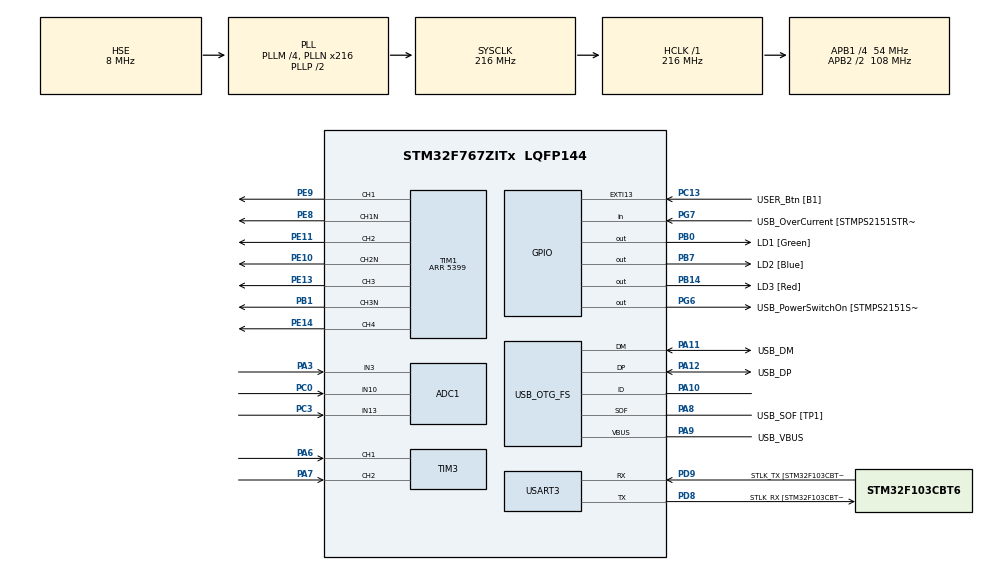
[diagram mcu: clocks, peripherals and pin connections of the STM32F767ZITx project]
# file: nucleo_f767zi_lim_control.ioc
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ADC1.Channel-0\#ChannelRegularConversion=ADC_CHANNEL_3
ADC1.Channel-1\#ChannelRegularConversion=ADC_CHANNEL_10
ADC1.Channel-2\#ChannelRegularConversion=ADC_CHANNEL_13
ADC1.ContinuousConvMode=ENABLE
ADC1.DMAContinuousRequests=ENABLE
ADC1.EOCSelection=ADC_EOC_SEQ_CONV
ADC1.NbrOfConversion=3
ADC1.NbrOfConversionFlag=1
ADC1.Rank-0\#ChannelRegularConversion=1
ADC1.Rank-1\#ChannelRegularConversion=2
ADC1.Rank-2\#ChannelRegularConversion=3
ADC1.SamplingTime-0\#ChannelRegularConversion=ADC_SAMPLETIME_3CYCLES
ADC1.SamplingTime-1\#ChannelRegularConversion=ADC_SAMPLETIME_3CYCLES
ADC1.SamplingTime-2\#ChannelRegularConversion=ADC_SAMPLETIME_3CYCLES
ADC1.ScanConvMode=ADC_SCAN_ENABLE
ADC1.master=1
Dma.ADC1.0.Direction=DMA_PERIPH_TO_MEMORY
Dma.ADC1.0.FIFOMode=DMA_FIFOMODE_DISABLE
Dma.ADC1.0.Instance=DMA2_Stream0
Dma.ADC1.0.MemDataAlignment=DMA_MDATAALIGN_WORD
Dma.ADC1.0.MemInc=DMA_MINC_ENABLE
Dma.ADC1.0.Mode=DMA_CIRCULAR
Dma.ADC1.0.PeriphDataAlignment=DMA_PDATAALIGN_WORD
Dma.ADC1.0.PeriphInc=DMA_PINC_DISABLE
Dma.ADC1.0.Priority=DMA_PRIORITY_LOW
Dma.Request0=ADC1
Mcu.Family=STM32F7
Mcu.Name=STM32F767ZITx
Mcu.Package=LQFP144
NVIC.PriorityGroup=NVIC_PRIORITYGROUP_4
PA10.Mode=OTG/Dual_Role_Device
PA10.Signal=USB_OTG_FS_ID
PA11.GPIO_Label=USB_DM
PA11.Mode=OTG/Dual_Role_Device
PA11.Signal=USB_OTG_FS_DM
PA12.GPIO_Label=USB_DP
PA12.Mode=OTG/Dual_Role_Device
PA12.Signal=USB_OTG_FS_DP
PA13.GPIO_Label=TMS
PA13.Mode=Serial_Wire
PA13.Signal=SYS_JTMS-SWDIO
PA14.GPIO_Label=TCK
PA14.Mode=Serial_Wire
PA14.Signal=SYS_JTCK-SWCLK
PA3.Signal=ADCx_IN3
PA6.Signal=S_TIM3_CH1
PA7.Signal=S_TIM3_CH2
PA8.GPIO_Label=USB_SOF [TP1]
PA8.Mode=Activate_SOF_FS
PA8.Signal=USB_OTG_FS_SOF
PA9.GPIO_Label=USB_VBUS
PA9.Mode=Activate_VBUS
PA9.Signal=USB_OTG_FS_VBUS
PB0.GPIO_Label=LD1 [Green]
PB0.Signal=GPIO_Output
PB1.Mode=PWM Generation3 CH3 CH3N
PB1.Signal=TIM1_CH3N
PB14.GPIO_Label=LD3 [Red]
PB14.Signal=GPIO_Output
PB3.GPIO_Label=SWO
PB3.Signal=SYS_JTDO-SWO
PB7.GPIO_Label=LD2 [Blue]
PB7.Signal=GPIO_Output
PC0.Signal=ADCx_IN10
PC13.GPIO_Label=USER_Btn [B1]
PC13.Signal=GPXTI13
PC14/OSC32_IN.Mode=LSE-External-Oscillator
PC14/OSC32_IN.Signal=RCC_OSC32_IN
PC15/OSC32_OUT.Mode=LSE-External-Oscillator
PC15/OSC32_OUT.Signal=RCC_OSC32_OUT
PC3.Signal=ADCx_IN13
PD8.GPIO_Label=STLK_RX [STM32F103CBT6_PA3]
PD8.Mode=Asynchronous
PD8.Signal=USART3_TX
PD9.GPIO_Label=STLK_TX [STM32F103CBT6_PA2]
PD9.Mode=Asynchronous
PD9.Signal=USART3_RX
PE10.Mode=PWM Generation2 CH2 CH2N
PE10.Signal=TIM1_CH2N
PE11.Signal=S_TIM1_CH2
PE13.Signal=S_TIM1_CH3
PE14.Signal=S_TIM1_CH4
PE8.Mode=PWM Generation1 CH1 CH1N
PE8.Signal=TIM1_CH1N
PE9.Signal=S_TIM1_CH1
PG6.GPIO_Label=USB_PowerSwitchOn [STMPS2151STR_EN]
PG6.Signal=GPIO_Output
PG7.GPIO_Label=USB_OverCurrent [STMPS2151STR_FAULT]
PG7.Signal=GPIO_Input
PH0/OSC_IN.GPIO_Label=MCO [STM32F103CBT6_PA8]
PH0/OSC_IN.Mode=HSE-External-Clock-Source
PH0/OSC_IN.Signal=RCC_OSC_IN
PH1/OSC_OUT.Mode=HSE-External-Clock-Source
PH1/OSC_OUT.Signal=RCC_OSC_OUT
ProjectManager.HeapSize=0x200
ProjectManager.StackSize=0x400
ProjectManager.TargetToolchain=STM32CubeIDE
RCC.48MHZClocksFreq_Value=24000000
RCC.AHBFreq_Value=216000000
RCC.APB1CLKDivider=RCC_HCLK_DIV4
RCC.APB1Freq_Value=54000000
RCC.APB1TimFreq_Value=108000000
RCC.APB2CLKDivider=RCC_HCLK_DIV2
RCC.APB2Freq_Value=108000000
RCC.APB2TimFreq_Value=216000000
RCC.CortexFreq_Value=216000000
RCC.HCLKFreq_Value=216000000
RCC.HSE_VALUE=8000000
RCC.HSI_VALUE=16000000
RCC.PLLM=4
RCC.PLLMUL=RCC_PLL_MUL9
RCC.PLLN=216
RCC.PLLQ=9
RCC.PRESCALERUSB=RCC_USBCLKSOURCE_PLL_DIV1_5
RCC.SYSCLKFreq_VALUE=216000000
RCC.SYSCLKSource=RCC_SYSCLKSOURCE_PLLCLK
RCC.SYSCLKSourceVirtual=RCC_SYSCLKSOURCE_PLLCLK
RCC.USBFreq_Value=48000000
RCC.VCOOutputFreq_Value=432000000
SH.ADCx_IN10.0=ADC1_IN10,IN10
SH.ADCx_IN13.0=ADC1_IN13,IN13
SH.ADCx_IN3.0=ADC1_IN3,IN3
SH.S_TIM1_CH1.0=TIM1_CH1,PWM Generation1 CH1 CH1N
SH.S_TIM1_CH2.0=TIM1_CH2,PWM Generation2 CH2 CH2N
SH.S_TIM1_CH3.0=TIM1_CH3,PWM Generation3 CH3 CH3N
SH.S_TIM1_CH4.0=TIM1_CH4,PWM Generation4 CH4
SH.S_TIM3_CH1.0=TIM3_CH1,Encoder_Interface
SH.S_TIM3_CH2.0=TIM3_CH2,Encoder_Interface
TIM1.AutoReloadPreload=TIM_AUTORELOAD_PRELOAD_ENABLE
TIM1.Channel-PWM\ Generation1\ CH1\ CH1N=TIM_CHANNEL_1
TIM1.Channel-PWM\ Generation2\ CH2\ CH2N=TIM_CHANNEL_2
TIM1.Channel-PWM\ Generation3\ CH3\ CH3N=TIM_CHANNEL_3
TIM1.Channel-PWM\ Generation4\ CH4=TIM_CHANNEL_4
TIM1.CounterMode=TIM_COUNTERMODE_CENTERALIGNED3
TIM1.Period=5399
TIM5.Prescaler=215
USART3.VirtualMode-Asynchronous=VM_ASYNC
VP_TIM1_VS_ClockSourceINT.Mode=Internal
VP_TIM5_VS_ClockSourceINT.Mode=Internal
board=NUCLEO-F767ZI

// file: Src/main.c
/* USER CODE BEGIN Header */
/**
 ******************************************************************************
 * @file           : main.c
 * @brief          : Main program body
 ******************************************************************************
 * @attention
 *
 * Copyright (c) 2025 STMicroelectronics.
 * All rights reserved.
 *
 * This software is licensed under terms that can be found in the LICENSE file
 * in the root directory of this software component.
 * If no LICENSE file comes with this software, it is provided AS-IS.
 *
 ******************************************************************************
 */
/* USER CODE END Header */
#include "main.h"

ADC_HandleTypeDef hadc1;
DMA_HandleTypeDef hdma_adc1;

TIM_HandleTypeDef htim1;
TIM_HandleTypeDef htim3;
TIM_HandleTypeDef htim5;

UART_HandleTypeDef huart3;

/* USER CODE BEGIN PV */
uint32_t AD_RES_BUFFER[3];	// circular buffer, 3 in-use ADC channels
float gain1 = 5400.0 / 4095;
float gain2 = 5400.0 / 4095;
float gain3 = 5400.0 / 4095;
/* USER CODE END PV */

void SystemClock_Config(void);
static void MX_GPIO_Init(void);
static void MX_DMA_Init(void);
static void MX_ADC1_Init(void);
static void MX_USART3_UART_Init(void);
static void MX_USB_OTG_FS_USB_Init(void);
static void MX_TIM1_Init(void);
static void MX_TIM5_Init(void);
static void MX_TIM3_Init(void);
/* USER CODE BEGIN PFP */

float compute_speed(int dif_pulses, int ticks_216mhz);

/* USER CODE END PFP */

int main(void)
{

  /* MCU Configuration--------------------------------------------------------*/

  /* Reset of all peripherals, Initializes the Flash interface and the Systick. */
  HAL_Init();

  /* Configure the system clock */
  SystemClock_Config();

  /* Initialize all configured peripherals */
  MX_GPIO_Init();
  MX_DMA_Init();
  MX_ADC1_Init();
  MX_USART3_UART_Init();
  MX_USB_OTG_FS_USB_Init();
  MX_TIM1_Init();
  MX_TIM5_Init();
  MX_TIM3_Init();
  /* USER CODE BEGIN 2 */

	HAL_TIM_PWM_Start(&htim1, TIM_CHANNEL_1);
	HAL_TIMEx_PWMN_Start(&htim1, TIM_CHANNEL_1);
	HAL_TIM_PWM_Start(&htim1, TIM_CHANNEL_2);
	HAL_TIMEx_PWMN_Start(&htim1, TIM_CHANNEL_2);
	HAL_TIM_PWM_Start(&htim1, TIM_CHANNEL_3);
	HAL_TIMEx_PWMN_Start(&htim1, TIM_CHANNEL_3);
	HAL_ADC_Start_DMA(&hadc1, AD_RES_BUFFER, 3);
	HAL_TIM_Encoder_Start(&htim2, TIM_CHANNEL_ALL);

  /* USER CODE END 2 */

  /* Infinite loop */
  /* USER CODE BEGIN WHILE */
	uint32_t count = 0;
	float KP = 2.0;
	float KI = 2.1;
	float i_set_scale = 1.0 / 4095;
	uint32_t prev_time = TIM5->CNT;
	uint32_t prev_pulses = TIM2->CNT;

	while (1)
	{
		/*
		 * Current Control loop:
		 * 1. Take ADC current sensor reading, compute currents
		 * [later: call FOC algorithm]
		 * 3. Identify desired currents
		 * 4. Identify effective voltage for PI control
		 * 5. Send outputs to gate driver
		 */

		uint32_t v1 = AD_RES_BUFFER[0];
//		uint32_t v2 = AD_RES_BUFFER[1];
		uint32_t v3 = AD_RES_BUFFER[2];	// Use as setpoint
		float i1 = gain1 * v1;
		float i_set = i_set_scale * v3;
		float i1_err = i1 - i1_set;
//		float i2 = gain2 * v2;
//		float i3 = gain3 * v3;

		// For
		float V_out = KP * i1_err;

		TIM1->CCR1 = (uint16_t) i1;
//		TIM1->CCR2 = (uint16_t) i2;
//		TIM1->CCR3 = (uint16_t) i3;
		//	  TIM1->CCR1 = 5000;
		//	  TIM1->CCR2 = 3000;
		//	  TIM1->CCR3 = 1000;

		// Encoder pulses, frequency method
		uint32_t encoder_pulses = TIM8->CNT;

		// Write to channel 0, see in J-Link RTT Viewer or telnet client
		if (count % 5 == 0) {
			// SEGGER_RTT_WriteString(0, "Hello world!\r\n");
			SEGGER_RTT_printf(0, "%u half-seconds, %u \r\n", count/5, encoder_pulses);
		}
		//

		HAL_Delay(100);

		HAL_GPIO_TogglePin(GPIOB, GPIO_PIN_0);
		HAL_GPIO_TogglePin(GPIOB, GPIO_PIN_7);
		HAL_GPIO_TogglePin(GPIOB, GPIO_PIN_14);

		count++;
    /* USER CODE END WHILE */

	}
}

void SystemClock_Config(void)
{
  RCC_OscInitTypeDef RCC_OscInitStruct = {0};
  RCC_ClkInitTypeDef RCC_ClkInitStruct = {0};

  /** Configure LSE Drive Capability
  */
  HAL_PWR_EnableBkUpAccess();

  /** Configure the main internal regulator output voltage
  */
  __HAL_RCC_PWR_CLK_ENABLE();
  __HAL_PWR_VOLTAGESCALING_CONFIG(PWR_REGULATOR_VOLTAGE_SCALE1);

  /** Initializes the RCC Oscillators according to the specified parameters
  * in the RCC_OscInitTypeDef structure.
  */
  RCC_OscInitStruct.OscillatorType = RCC_OSCILLATORTYPE_HSE;
  RCC_OscInitStruct.HSEState = RCC_HSE_BYPASS;
  RCC_OscInitStruct.PLL.PLLState = RCC_PLL_ON;
  RCC_OscInitStruct.PLL.PLLSource = RCC_PLLSOURCE_HSE;
  RCC_OscInitStruct.PLL.PLLM = 4;
  RCC_OscInitStruct.PLL.PLLN = 216;
  RCC_OscInitStruct.PLL.PLLP = RCC_PLLP_DIV2;
  RCC_OscInitStruct.PLL.PLLQ = 9;
  RCC_OscInitStruct.PLL.PLLR = 2;
  if (HAL_RCC_OscConfig(&RCC_OscInitStruct) != HAL_OK)
  {
    Error_Handler();
  }

  /** Activate the Over-Drive mode
  */
  if (HAL_PWREx_EnableOverDrive() != HAL_OK)
  {
    Error_Handler();
  }

  /** Initializes the CPU, AHB and APB buses clocks
  */
  RCC_ClkInitStruct.ClockType = RCC_CLOCKTYPE_HCLK|RCC_CLOCKTYPE_SYSCLK
                              |RCC_CLOCKTYPE_PCLK1|RCC_CLOCKTYPE_PCLK2;
  RCC_ClkInitStruct.SYSCLKSource = RCC_SYSCLKSOURCE_PLLCLK;
  RCC_ClkInitStruct.AHBCLKDivider = RCC_SYSCLK_DIV1;
  RCC_ClkInitStruct.APB1CLKDivider = RCC_HCLK_DIV4;
  RCC_ClkInitStruct.APB2CLKDivider = RCC_HCLK_DIV2;

  if (HAL_RCC_ClockConfig(&RCC_ClkInitStruct, FLASH_LATENCY_7) != HAL_OK)
  {
    Error_Handler();
  }
}

static void MX_ADC1_Init(void)
{

  ADC_ChannelConfTypeDef sConfig = {0};

  /** Configure the global features of the ADC (Clock, Resolution, Data Alignment and number of conversion)
  */
  hadc1.Instance = ADC1;
  hadc1.Init.ClockPrescaler = ADC_CLOCK_SYNC_PCLK_DIV4;
  hadc1.Init.Resolution = ADC_RESOLUTION_12B;
  hadc1.Init.ScanConvMode = ADC_SCAN_ENABLE;
  hadc1.Init.ContinuousConvMode = ENABLE;
  hadc1.Init.DiscontinuousConvMode = DISABLE;
  hadc1.Init.ExternalTrigConvEdge = ADC_EXTERNALTRIGCONVEDGE_NONE;
  hadc1.Init.ExternalTrigConv = ADC_SOFTWARE_START;
  hadc1.Init.DataAlign = ADC_DATAALIGN_RIGHT;
  hadc1.Init.NbrOfConversion = 3;
  hadc1.Init.DMAContinuousRequests = ENABLE;
  hadc1.Init.EOCSelection = ADC_EOC_SEQ_CONV;
  if (HAL_ADC_Init(&hadc1) != HAL_OK)
  {
    Error_Handler();
  }

  /** Configure for the selected ADC regular channel its corresponding rank in the sequencer and its sample time.
  */
  sConfig.Channel = ADC_CHANNEL_3;
  sConfig.Rank = ADC_REGULAR_RANK_1;
  sConfig.SamplingTime = ADC_SAMPLETIME_3CYCLES;
  if (HAL_ADC_ConfigChannel(&hadc1, &sConfig) != HAL_OK)
  {
    Error_Handler();
  }

  /** Configure for the selected ADC regular channel its corresponding rank in the sequencer and its sample time.
  */
  sConfig.Channel = ADC_CHANNEL_10;
  sConfig.Rank = ADC_REGULAR_RANK_2;
  if (HAL_ADC_ConfigChannel(&hadc1, &sConfig) != HAL_OK)
  {
    Error_Handler();
  }

  /** Configure for the selected ADC regular channel its corresponding rank in the sequencer and its sample time.
  */
  sConfig.Channel = ADC_CHANNEL_13;
  sConfig.Rank = ADC_REGULAR_RANK_3;
  if (HAL_ADC_ConfigChannel(&hadc1, &sConfig) != HAL_OK)
  {
    Error_Handler();
  }

}

static void MX_TIM1_Init(void)
{

  TIM_ClockConfigTypeDef sClockSourceConfig = {0};
  TIM_MasterConfigTypeDef sMasterConfig = {0};
  TIM_OC_InitTypeDef sConfigOC = {0};
  TIM_BreakDeadTimeConfigTypeDef sBreakDeadTimeConfig = {0};

  htim1.Instance = TIM1;
  htim1.Init.Prescaler = 0;
  htim1.Init.CounterMode = TIM_COUNTERMODE_CENTERALIGNED3;
  htim1.Init.Period = 5399;
  htim1.Init.ClockDivision = TIM_CLOCKDIVISION_DIV1;
  htim1.Init.RepetitionCounter = 0;
  htim1.Init.AutoReloadPreload = TIM_AUTORELOAD_PRELOAD_ENABLE;
  if (HAL_TIM_Base_Init(&htim1) != HAL_OK)
  {
    Error_Handler();
  }
  sClockSourceConfig.ClockSource = TIM_CLOCKSOURCE_INTERNAL;
  if (HAL_TIM_ConfigClockSource(&htim1, &sClockSourceConfig) != HAL_OK)
  {
    Error_Handler();
  }
  if (HAL_TIM_PWM_Init(&htim1) != HAL_OK)
  {
    Error_Handler();
  }
  sMasterConfig.MasterOutputTrigger = TIM_TRGO_RESET;
  sMasterConfig.MasterOutputTrigger2 = TIM_TRGO2_RESET;
  sMasterConfig.MasterSlaveMode = TIM_MASTERSLAVEMODE_DISABLE;
  if (HAL_TIMEx_MasterConfigSynchronization(&htim1, &sMasterConfig) != HAL_OK)
  {
    Error_Handler();
  }
  sConfigOC.OCMode = TIM_OCMODE_PWM1;
  sConfigOC.Pulse = 0;
  sConfigOC.OCPolarity = TIM_OCPOLARITY_HIGH;
  sConfigOC.OCNPolarity = TIM_OCNPOLARITY_HIGH;
  sConfigOC.OCFastMode = TIM_OCFAST_DISABLE;
  sConfigOC.OCIdleState = TIM_OCIDLESTATE_RESET;
  sConfigOC.OCNIdleState = TIM_OCNIDLESTATE_RESET;
  if (HAL_TIM_PWM_ConfigChannel(&htim1, &sConfigOC, TIM_CHANNEL_1) != HAL_OK)
  {
    Error_Handler();
  }
  if (HAL_TIM_PWM_ConfigChannel(&htim1, &sConfigOC, TIM_CHANNEL_2) != HAL_OK)
  {
    Error_Handler();
  }
  if (HAL_TIM_PWM_ConfigChannel(&htim1, &sConfigOC, TIM_CHANNEL_3) != HAL_OK)
  {
    Error_Handler();
  }
  if (HAL_TIM_PWM_ConfigChannel(&htim1, &sConfigOC, TIM_CHANNEL_4) != HAL_OK)
  {
    Error_Handler();
  }
  sBreakDeadTimeConfig.OffStateRunMode = TIM_OSSR_DISABLE;
  sBreakDeadTimeConfig.OffStateIDLEMode = TIM_OSSI_DISABLE;
  sBreakDeadTimeConfig.LockLevel = TIM_LOCKLEVEL_OFF;
  sBreakDeadTimeConfig.DeadTime = 0;
  sBreakDeadTimeConfig.BreakState = TIM_BREAK_DISABLE;
  sBreakDeadTimeConfig.BreakPolarity = TIM_BREAKPOLARITY_HIGH;
  sBreakDeadTimeConfig.BreakFilter = 0;
  sBreakDeadTimeConfig.Break2State = TIM_BREAK2_DISABLE;
  sBreakDeadTimeConfig.Break2Polarity = TIM_BREAK2POLARITY_HIGH;
  sBreakDeadTimeConfig.Break2Filter = 0;
  sBreakDeadTimeConfig.AutomaticOutput = TIM_AUTOMATICOUTPUT_DISABLE;
  if (HAL_TIMEx_ConfigBreakDeadTime(&htim1, &sBreakDeadTimeConfig) != HAL_OK)
  {
    Error_Handler();
  }
  HAL_TIM_MspPostInit(&htim1);

}

static void MX_TIM3_Init(void)
{

  TIM_Encoder_InitTypeDef sConfig = {0};
  TIM_MasterConfigTypeDef sMasterConfig = {0};

  htim3.Instance = TIM3;
  htim3.Init.Prescaler = 0;
  htim3.Init.CounterMode = TIM_COUNTERMODE_UP;
  htim3.Init.Period = 65535;
  htim3.Init.ClockDivision = TIM_CLOCKDIVISION_DIV1;
  htim3.Init.AutoReloadPreload = TIM_AUTORELOAD_PRELOAD_DISABLE;
  sConfig.EncoderMode = TIM_ENCODERMODE_TI1;
  sConfig.IC1Polarity = TIM_ICPOLARITY_RISING;
  sConfig.IC1Selection = TIM_ICSELECTION_DIRECTTI;
  sConfig.IC1Prescaler = TIM_ICPSC_DIV1;
  sConfig.IC1Filter = 0;
  sConfig.IC2Polarity = TIM_ICPOLARITY_RISING;
  sConfig.IC2Selection = TIM_ICSELECTION_DIRECTTI;
  sConfig.IC2Prescaler = TIM_ICPSC_DIV1;
  sConfig.IC2Filter = 0;
  if (HAL_TIM_Encoder_Init(&htim3, &sConfig) != HAL_OK)
  {
    Error_Handler();
  }
  sMasterConfig.MasterOutputTrigger = TIM_TRGO_RESET;
  sMasterConfig.MasterSlaveMode = TIM_MASTERSLAVEMODE_DISABLE;
  if (HAL_TIMEx_MasterConfigSynchronization(&htim3, &sMasterConfig) != HAL_OK)
  {
    Error_Handler();
  }

}

static void MX_TIM5_Init(void)
{

  TIM_ClockConfigTypeDef sClockSourceConfig = {0};
  TIM_MasterConfigTypeDef sMasterConfig = {0};

  htim5.Instance = TIM5;
  htim5.Init.Prescaler = 215;
  htim5.Init.CounterMode = TIM_COUNTERMODE_UP;
  htim5.Init.Period = 4294967295;
  htim5.Init.ClockDivision = TIM_CLOCKDIVISION_DIV1;
  htim5.Init.AutoReloadPreload = TIM_AUTORELOAD_PRELOAD_DISABLE;
  if (HAL_TIM_Base_Init(&htim5) != HAL_OK)
  {
    Error_Handler();
  }
  sClockSourceConfig.ClockSource = TIM_CLOCKSOURCE_INTERNAL;
  if (HAL_TIM_ConfigClockSource(&htim5, &sClockSourceConfig) != HAL_OK)
  {
    Error_Handler();
  }
  sMasterConfig.MasterOutputTrigger = TIM_TRGO_RESET;
  sMasterConfig.MasterSlaveMode = TIM_MASTERSLAVEMODE_DISABLE;
  if (HAL_TIMEx_MasterConfigSynchronization(&htim5, &sMasterConfig) != HAL_OK)
  {
    Error_Handler();
  }

}

static void MX_USART3_UART_Init(void)
{

  huart3.Instance = USART3;
  huart3.Init.BaudRate = 115200;
  huart3.Init.WordLength = UART_WORDLENGTH_8B;
  huart3.Init.StopBits = UART_STOPBITS_1;
  huart3.Init.Parity = UART_PARITY_NONE;
  huart3.Init.Mode = UART_MODE_TX_RX;
  huart3.Init.HwFlowCtl = UART_HWCONTROL_NONE;
  huart3.Init.OverSampling = UART_OVERSAMPLING_16;
  huart3.Init.OneBitSampling = UART_ONE_BIT_SAMPLE_DISABLE;
  huart3.AdvancedInit.AdvFeatureInit = UART_ADVFEATURE_NO_INIT;
  if (HAL_UART_Init(&huart3) != HAL_OK)
  {
    Error_Handler();
  }

}

static void MX_USB_OTG_FS_USB_Init(void)
{

}

static void MX_DMA_Init(void)
{

  /* DMA controller clock enable */
  __HAL_RCC_DMA2_CLK_ENABLE();

}

static void MX_GPIO_Init(void)
{
  GPIO_InitTypeDef GPIO_InitStruct = {0};

  /* GPIO Ports Clock Enable */
  __HAL_RCC_GPIOC_CLK_ENABLE();
  __HAL_RCC_GPIOH_CLK_ENABLE();
  __HAL_RCC_GPIOA_CLK_ENABLE();
  __HAL_RCC_GPIOB_CLK_ENABLE();
  __HAL_RCC_GPIOE_CLK_ENABLE();
  __HAL_RCC_GPIOD_CLK_ENABLE();
  __HAL_RCC_GPIOG_CLK_ENABLE();

  /*Configure GPIO pin Output Level */
  HAL_GPIO_WritePin(GPIOB, LD1_Pin|LD3_Pin|LD2_Pin, GPIO_PIN_RESET);

  /*Configure GPIO pin Output Level */
  HAL_GPIO_WritePin(USB_PowerSwitchOn_GPIO_Port, USB_PowerSwitchOn_Pin, GPIO_PIN_RESET);

  /*Configure GPIO pin : USER_Btn_Pin */
  GPIO_InitStruct.Pin = USER_Btn_Pin;
  GPIO_InitStruct.Mode = GPIO_MODE_IT_RISING;
  GPIO_InitStruct.Pull = GPIO_NOPULL;
  HAL_GPIO_Init(USER_Btn_GPIO_Port, &GPIO_InitStruct);

  /*Configure GPIO pins : LD1_Pin LD3_Pin LD2_Pin */
  GPIO_InitStruct.Pin = LD1_Pin|LD3_Pin|LD2_Pin;
  GPIO_InitStruct.Mode = GPIO_MODE_OUTPUT_PP;
  GPIO_InitStruct.Pull = GPIO_NOPULL;
  GPIO_InitStruct.Speed = GPIO_SPEED_FREQ_LOW;
  HAL_GPIO_Init(GPIOB, &GPIO_InitStruct);

  /*Configure GPIO pin : USB_PowerSwitchOn_Pin */
  GPIO_InitStruct.Pin = USB_PowerSwitchOn_Pin;
  GPIO_InitStruct.Mode = GPIO_MODE_OUTPUT_PP;
  GPIO_InitStruct.Pull = GPIO_NOPULL;
  GPIO_InitStruct.Speed = GPIO_SPEED_FREQ_LOW;
  HAL_GPIO_Init(USB_PowerSwitchOn_GPIO_Port, &GPIO_InitStruct);

  /*Configure GPIO pin : USB_OverCurrent_Pin */
  GPIO_InitStruct.Pin = USB_OverCurrent_Pin;
  GPIO_InitStruct.Mode = GPIO_MODE_INPUT;
  GPIO_InitStruct.Pull = GPIO_NOPULL;
  HAL_GPIO_Init(USB_OverCurrent_GPIO_Port, &GPIO_InitStruct);

  /*Configure GPIO pins : USB_SOF_Pin PA10 USB_DM_Pin USB_DP_Pin */
  GPIO_InitStruct.Pin = USB_SOF_Pin|GPIO_PIN_10|USB_DM_Pin|USB_DP_Pin;
  GPIO_InitStruct.Mode = GPIO_MODE_AF_PP;
  GPIO_InitStruct.Pull = GPIO_NOPULL;
  GPIO_InitStruct.Speed = GPIO_SPEED_FREQ_VERY_HIGH;
  GPIO_InitStruct.Alternate = GPIO_AF10_OTG_FS;
  HAL_GPIO_Init(GPIOA, &GPIO_InitStruct);

  /*Configure GPIO pin : USB_VBUS_Pin */
  GPIO_InitStruct.Pin = USB_VBUS_Pin;
  GPIO_InitStruct.Mode = GPIO_MODE_INPUT;
  GPIO_InitStruct.Pull = GPIO_NOPULL;
  HAL_GPIO_Init(USB_VBUS_GPIO_Port, &GPIO_InitStruct);

}

void Error_Handler(void)
{
	__disable_irq();
	while (1)
	{
	}
}
